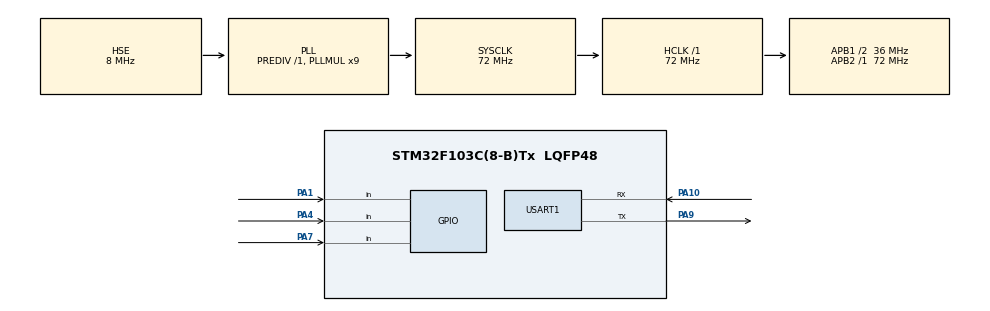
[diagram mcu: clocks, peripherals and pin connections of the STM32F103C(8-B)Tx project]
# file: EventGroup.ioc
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FREERTOS.Tasks01=KEY,0,128,Task01,Default,NULL,Dynamic,NULL,NULL;buil,0,128,Task02,Default,NULL,Dynamic,NULL,NULL
Mcu.Family=STM32F1
Mcu.Name=STM32F103C(8-B)Tx
Mcu.Package=LQFP48
NVIC.PriorityGroup=NVIC_PRIORITYGROUP_4
NVIC.TIM1_UP_IRQn=true\:15\:0\:false\:false\:true\:false\:false\:true\:true
NVIC.TimeBase=TIM1_UP_IRQn
NVIC.TimeBaseIP=TIM1
PA1.GPIO_PuPd=GPIO_PULLDOWN
PA1.Signal=GPIO_Input
PA10.Mode=Asynchronous
PA10.Signal=USART1_RX
PA13.Mode=Serial_Wire
PA13.Signal=SYS_JTMS-SWDIO
PA14.Mode=Serial_Wire
PA14.Signal=SYS_JTCK-SWCLK
PA4.GPIO_PuPd=GPIO_PULLDOWN
PA4.Signal=GPIO_Input
PA7.GPIO_PuPd=GPIO_PULLDOWN
PA7.Signal=GPIO_Input
PA9.Mode=Asynchronous
PA9.Signal=USART1_TX
PC14-OSC32_IN.Mode=LSE-External-Oscillator
PC14-OSC32_IN.Signal=RCC_OSC32_IN
PC15-OSC32_OUT.Mode=LSE-External-Oscillator
PC15-OSC32_OUT.Signal=RCC_OSC32_OUT
PD0-OSC_IN.Mode=HSE-External-Oscillator
PD0-OSC_IN.Signal=RCC_OSC_IN
PD1-OSC_OUT.Mode=HSE-External-Oscillator
PD1-OSC_OUT.Signal=RCC_OSC_OUT
ProjectManager.HeapSize=0x200
ProjectManager.StackSize=0x400
ProjectManager.TargetToolchain=MDK-ARM V5.27
RCC.AHBFreq_Value=72000000
RCC.APB1CLKDivider=RCC_HCLK_DIV2
RCC.APB1Freq_Value=36000000
RCC.APB1TimFreq_Value=72000000
RCC.APB2Freq_Value=72000000
RCC.APB2TimFreq_Value=72000000
RCC.HCLKFreq_Value=72000000
RCC.PLLMUL=RCC_PLL_MUL9
RCC.PLLSourceVirtual=RCC_PLLSOURCE_HSE
RCC.SYSCLKFreq_VALUE=72000000
RCC.SYSCLKSource=RCC_SYSCLKSOURCE_PLLCLK
RCC.USBFreq_Value=72000000
USART1.VirtualMode=VM_ASYNC
VP_FREERTOS_VS_CMSIS_V1.Mode=CMSIS_V1
VP_SYS_VS_tim1.Mode=TIM1
board=custom

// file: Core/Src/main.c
/* USER CODE BEGIN Header */
/**
  ******************************************************************************
  * @file           : main.c
  * @brief          : Main program body
  ******************************************************************************
  * @attention
  *
  * Copyright (c) 2024 STMicroelectronics.
  * All rights reserved.
  *
  * This software is licensed under terms that can be found in the LICENSE file
  * in the root directory of this software component.
  * If no LICENSE file comes with this software, it is provided AS-IS.
  *
  ******************************************************************************
  */
/* USER CODE END Header */
#include "main.h"
#include "cmsis_os.h"
#include "usart.h"
#include "gpio.h"

void SystemClock_Config(void);
void MX_FREERTOS_Init(void);

int main(void)
{

  /* MCU Configuration--------------------------------------------------------*/

  /* Reset of all peripherals, Initializes the Flash interface and the Systick. */
  HAL_Init();

  /* Configure the system clock */
  SystemClock_Config();

  /* Initialize all configured peripherals */
  MX_GPIO_Init();
  MX_USART1_UART_Init();

  /* Call init function for freertos objects (in freertos.c) */
  MX_FREERTOS_Init();

  /* Start scheduler */
  osKernelStart();

  /* We should never get here as control is now taken by the scheduler */
  /* Infinite loop */
  while (1)
  {

  }
}

void SystemClock_Config(void)
{
  RCC_OscInitTypeDef RCC_OscInitStruct = {0};
  RCC_ClkInitTypeDef RCC_ClkInitStruct = {0};

  /** Initializes the RCC Oscillators according to the specified parameters
  * in the RCC_OscInitTypeDef structure.
  */
  RCC_OscInitStruct.OscillatorType = RCC_OSCILLATORTYPE_HSE;
  RCC_OscInitStruct.HSEState = RCC_HSE_ON;
  RCC_OscInitStruct.HSEPredivValue = RCC_HSE_PREDIV_DIV1;
  RCC_OscInitStruct.HSIState = RCC_HSI_ON;
  RCC_OscInitStruct.PLL.PLLState = RCC_PLL_ON;
  RCC_OscInitStruct.PLL.PLLSource = RCC_PLLSOURCE_HSE;
  RCC_OscInitStruct.PLL.PLLMUL = RCC_PLL_MUL9;
  if (HAL_RCC_OscConfig(&RCC_OscInitStruct) != HAL_OK)
  {
    Error_Handler();
  }

  /** Initializes the CPU, AHB and APB buses clocks
  */
  RCC_ClkInitStruct.ClockType = RCC_CLOCKTYPE_HCLK|RCC_CLOCKTYPE_SYSCLK
                              |RCC_CLOCKTYPE_PCLK1|RCC_CLOCKTYPE_PCLK2;
  RCC_ClkInitStruct.SYSCLKSource = RCC_SYSCLKSOURCE_PLLCLK;
  RCC_ClkInitStruct.AHBCLKDivider = RCC_SYSCLK_DIV1;
  RCC_ClkInitStruct.APB1CLKDivider = RCC_HCLK_DIV2;
  RCC_ClkInitStruct.APB2CLKDivider = RCC_HCLK_DIV1;

  if (HAL_RCC_ClockConfig(&RCC_ClkInitStruct, FLASH_LATENCY_2) != HAL_OK)
  {
    Error_Handler();
  }
}

void HAL_TIM_PeriodElapsedCallback(TIM_HandleTypeDef *htim)
{
  if (htim->Instance == TIM1) {
    HAL_IncTick();
  }
}

void Error_Handler(void)
{
  __disable_irq();
  while (1)
  {
  }
}

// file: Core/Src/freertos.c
/* USER CODE BEGIN Header */
/**
  ******************************************************************************
  * File Name          : freertos.c
  * Description        : Code for freertos applications
  ******************************************************************************
  * @attention
  *
  * Copyright (c) 2024 STMicroelectronics.
  * All rights reserved.
  *
  * This software is licensed under terms that can be found in the LICENSE file
  * in the root directory of this software component.
  * If no LICENSE file comes with this software, it is provided AS-IS.
  *
  ******************************************************************************
  */
/* USER CODE END Header */

#include "FreeRTOS.h"
#include "task.h"
#include "main.h"
#include "cmsis_os.h"

osThreadId KEYHandle;
osThreadId builHandle;

/* USER CODE BEGIN FunctionPrototypes */
EventGroupHandle_t myEventGroup=NULL;
/* USER CODE END FunctionPrototypes */

void Task01(void const * argument);
void Task02(void const * argument);

void MX_FREERTOS_Init(void); /* (MISRA C 2004 rule 8.1) */

/* GetIdleTaskMemory prototype (linked to static allocation support) */
void vApplicationGetIdleTaskMemory( StaticTask_t **ppxIdleTaskTCBBuffer, StackType_t **ppxIdleTaskStackBuffer, uint32_t *pulIdleTaskStackSize );

/* USER CODE BEGIN GET_IDLE_TASK_MEMORY */
static StaticTask_t xIdleTaskTCBBuffer;
static StackType_t xIdleStack[configMINIMAL_STACK_SIZE];

void vApplicationGetIdleTaskMemory( StaticTask_t **ppxIdleTaskTCBBuffer, StackType_t **ppxIdleTaskStackBuffer, uint32_t *pulIdleTaskStackSize )
{
  *ppxIdleTaskTCBBuffer = &xIdleTaskTCBBuffer;
  *ppxIdleTaskStackBuffer = &xIdleStack[0];
  *pulIdleTaskStackSize = configMINIMAL_STACK_SIZE;
  /* place for user code */
}
/* USER CODE END GET_IDLE_TASK_MEMORY */

void MX_FREERTOS_Init(void) {

  /* Create the thread(s) */
  /* definition and creation of KEY */
  osThreadDef(KEY, Task01, osPriorityNormal, 0, 128);
  KEYHandle = osThreadCreate(osThread(KEY), NULL);

  /* definition and creation of buil */
  osThreadDef(buil, Task02, osPriorityNormal, 0, 128);
  builHandle = osThreadCreate(osThread(buil), NULL);

  /* USER CODE BEGIN RTOS_THREADS */
  /* add threads, ... */
  myEventGroup = xEventGroupCreate();
  /* USER CODE END RTOS_THREADS */

}

void Task01(void const * argument)
{
  /* USER CODE BEGIN Task01 */
  /* Infinite loop */
  for(;;)
  {
    osDelay(1);
    if(HAL_GPIO_ReadPin(GPIOA,GPIO_PIN_1)==GPIO_PIN_SET)
    {
      osDelay(20);
      if(HAL_GPIO_ReadPin(GPIOA,GPIO_PIN_1)==GPIO_PIN_SET)
      {
        printf("KEY1 pressed\r\n");
        xEventGroupSetBits(myEventGroup,0x0001);
      }
      while(HAL_GPIO_ReadPin(GPIOA,GPIO_PIN_1)==GPIO_PIN_SET);
    }

    if(HAL_GPIO_ReadPin(GPIOA,GPIO_PIN_4)==GPIO_PIN_SET)
    {
      osDelay(20);
      if(HAL_GPIO_ReadPin(GPIOA,GPIO_PIN_4)==GPIO_PIN_SET)
      {
        printf("KEY2 pressed\r\n");
        xEventGroupSetBits(myEventGroup,0x0010);
      }
      while(HAL_GPIO_ReadPin(GPIOA,GPIO_PIN_4)==GPIO_PIN_SET);
    }

    if(HAL_GPIO_ReadPin(GPIOA,GPIO_PIN_7)==GPIO_PIN_SET)
    {
      osDelay(20);
      if(HAL_GPIO_ReadPin(GPIOA,GPIO_PIN_7)==GPIO_PIN_SET)
      {
        printf("KEY3 pressed\r\n");
        xEventGroupSetBits(myEventGroup,0x0100);
      }
      while(HAL_GPIO_ReadPin(GPIOA,GPIO_PIN_7)==GPIO_PIN_SET);
    }
  }
  /* USER CODE END Task01 */
}

void Task02(void const * argument)
{
  /* USER CODE BEGIN Task02 */
  uint32_t bit;
  /* Infinite loop */
  for(;;)
  {
    // bit = xEventGroupWaitBits(myEventGroup,0x0111,pdTRUE,pdTRUE,portMAX_DELAY);
    // if(bit == 0x0111)
    // {
    //   printf("KEY1,KEY2,KEY3 pressed\r\n");
    // }
    //  三个按键需要全部按下
    bit = xEventGroupWaitBits(myEventGroup,0x0111,pdTRUE,pdFALSE,portMAX_DELAY);
    if(bit == 0x0001 || bit == 0x0010 || bit == 0x0100)
    {
      printf("KEY1,KEY2,KEY3其一pressed\r\n");
    }
  }
  /* USER CODE END Task02 */
}
